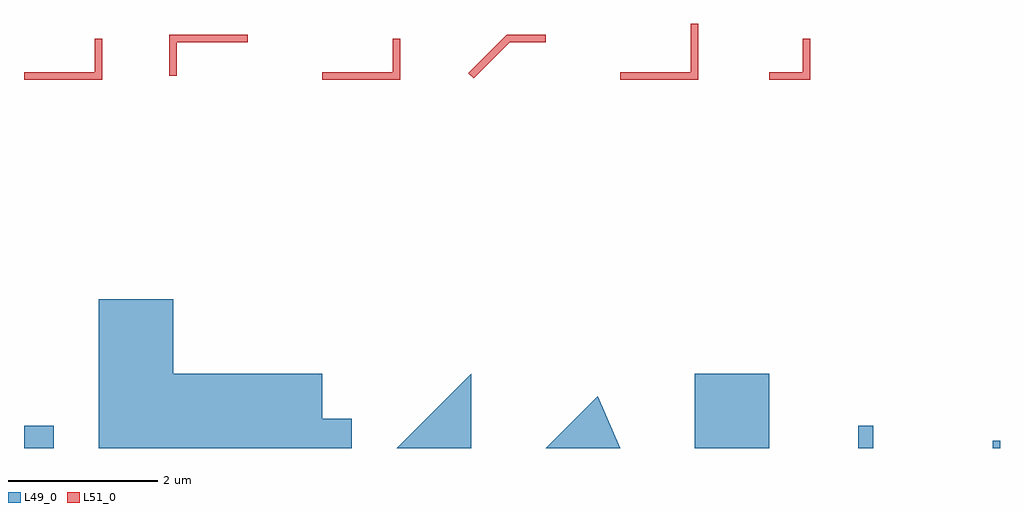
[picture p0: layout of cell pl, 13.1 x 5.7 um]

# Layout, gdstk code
import gdstk
lib = gdstk.Library(unit=1e-6, precision=1e-09)
def R(c, l, rs):  # rectangles x0, y0, x1, y1
    for r in rs: c.add(gdstk.rectangle(r[:2], r[2:], *l))
def P(c, l, *ps):  # polygons
    for p in ps: c.add(gdstk.Polygon(p, *l))
L49_0 = (49, 0)
L51_0 = (51, 0)

c_pl = lib.new_cell('pl')
R(c_pl, L49_0, [(0,0,0.4,0.3), (4,0,4.4,0.4), (9,0,10,1), (13,0,13.1,0.1)])
P(c_pl, L49_0, [(1,0),(1,2),(2,2),(2,1),(4,1),(4,0)],
  [(5,0),(6,0),(6,1)],
  [(7,0),(8,0),(7.7,0.7)],
  [(11,0),(11.4,0),(11.4,0.3),(11.2,0.3),(11.2,0)])
c_pl.add(gdstk.FlexPath([(0,5),(1,5),(1,5.5)], 0.1, ends="flush", simple_path=True, layer=51, datatype=0))  # L51_0
c_pl.add(gdstk.FlexPath([(2,5),(2,5.5),(3,5.5)], 0.1, ends="flush", simple_path=True, layer=51, datatype=0))  # L51_0
c_pl.add(gdstk.FlexPath([(4,5),(5,5),(5,5.5)], 0.1, ends="flush", simple_path=True, layer=51, datatype=0))  # L51_0
c_pl.add(gdstk.FlexPath([(6,5),(6.5,5.5),(7,5.5)], 0.1, ends="flush", simple_path=True, layer=51, datatype=0))  # L51_0
c_pl.add(gdstk.FlexPath([(8,5),(9,5),(9,5.7)], 0.1, ends="flush", simple_path=True, layer=51, datatype=0))  # L51_0
c_pl.add(gdstk.FlexPath([(10,5),(10.5,5),(10.5,5.5)], 0.1, ends="flush", simple_path=True, layer=51, datatype=0))  # L51_0

lib.write_gds('pl.gds')
